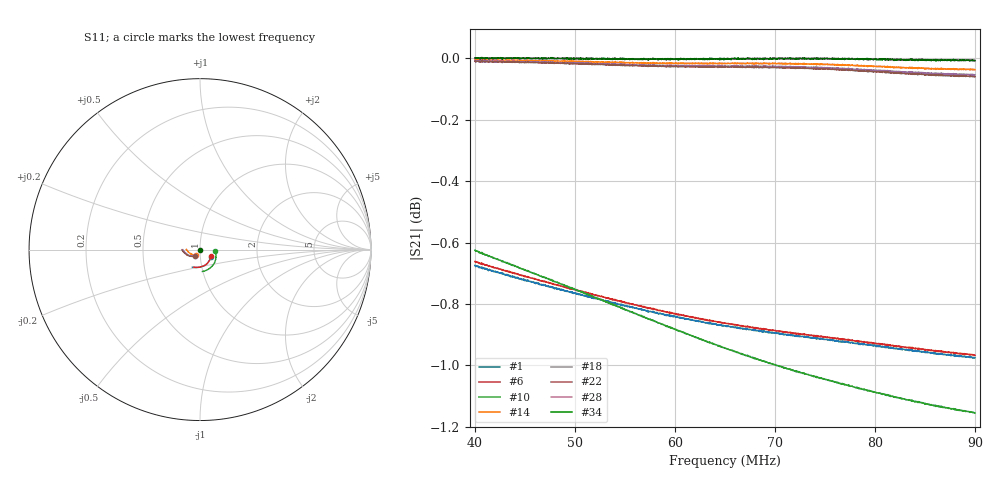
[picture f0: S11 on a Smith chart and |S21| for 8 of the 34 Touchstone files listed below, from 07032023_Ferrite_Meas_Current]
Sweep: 40 MHz to 90 MHz
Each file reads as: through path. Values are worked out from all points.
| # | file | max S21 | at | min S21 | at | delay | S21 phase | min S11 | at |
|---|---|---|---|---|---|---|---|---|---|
| 1 | FERRITE_SAMPLE_0A.S2P | -0.67 dB | 40.03 MHz | -1.0 dB | 89.78 MHz | 2.86 ns | -70 deg at 65.02 MHz | -22.4 dB | 40 MHz |
| 2 | FERRITE_SAMPLE_0A_AVG.S2P | -0.65 dB | 40.03 MHz | -0.9 dB | 90 MHz | 2.86 ns | -70 deg at 65.02 MHz | -22.6 dB | 40 MHz |
| 3 | FERRITE_SAMPLE_0A_DEEMBED.s2p | -0.67 dB | 40 MHz | -1.0 dB | 89.84 MHz | 256 ps | -9 deg at 65.02 MHz | -22.4 dB | 40.03 MHz |
| 4 | FERRITE_SAMPLE_0A_MA.s2p | -0.67 dB | 40.03 MHz | -1.0 dB | 89.78 MHz | 2.86 ns | -70 deg at 65.02 MHz | -22.4 dB | 40 MHz |
| 5 | FERRITE_SAMPLE_2,5A.S2P | -0.66 dB | 40.03 MHz | -1.0 dB | 89.78 MHz | 2.87 ns | -70 deg at 65.02 MHz | -22.4 dB | 40 MHz |
| 6 | FERRITE_SAMPLE_2,5A_AVG.S2P | -0.66 dB | 40.03 MHz | -1.0 dB | 90 MHz | 2.87 ns | -71 deg at 65.02 MHz | -22.4 dB | 40 MHz |
| 7 | FERRITE_SAMPLE_5A.S2P | -0.72 dB | 40 MHz | -1.0 dB | 90 MHz | 2.87 ns | -71 deg at 65.02 MHz | -21.5 dB | 40.09 MHz |
| 8 | FERRITE_SAMPLE_5A_AVG.S2P | -0.77 dB | 40 MHz | -1.1 dB | 90 MHz | 2.87 ns | -72 deg at 65.02 MHz | -20.9 dB | 40 MHz |
| 9 | FERRITE_SAMPLE_7,5A.S2P | -0.63 dB | 40 MHz | -1.1 dB | 89.87 MHz | 2.92 ns | -74 deg at 65.02 MHz | -21.0 dB | 40 MHz |
| 10 | FERRITE_SAMPLE_7,5A_AVG.S2P | -0.62 dB | 40.03 MHz | -1.2 dB | 90 MHz | 2.93 ns | -74 deg at 65.02 MHz | -21.0 dB | 40 MHz |
| 11 | FERRITE_SAMPLE_10A.S2P | 0.00 dB | 40.69 MHz | 0.0 dB | 88.66 MHz | 2.98 ns | -70 deg at 65.02 MHz | -38.1 dB | 40 MHz |
| 12 | FERRITE_SAMPLE_10A_AVG.S2P | 0.00 dB | 40.69 MHz | 0.0 dB | 89.78 MHz | 2.99 ns | -70 deg at 65.02 MHz | -38.0 dB | 40 MHz |
| 13 | FERRITE_SAMPLE_12,5A.S2P | 0.00 dB | 40.69 MHz | 0.0 dB | 89.91 MHz | 2.88 ns | -67 deg at 65.02 MHz | -28.6 dB | 40 MHz |
| 14 | FERRITE_SAMPLE_12,5A_AVG.S2P | 0.00 dB | 40.69 MHz | 0.0 dB | 89.5 MHz | 2.88 ns | -67 deg at 65.02 MHz | -28.5 dB | 40 MHz |
| 15 | FERRITE_SAMPLE_15A.S2P | -0.01 dB | 40.69 MHz | -0.1 dB | 89.78 MHz | 2.85 ns | -67 deg at 65.02 MHz | -27.2 dB | 40 MHz |
| 16 | FERRITE_SAMPLE_15A_AVG.S2P | -0.01 dB | 40.69 MHz | 0.0 dB | 89.78 MHz | 2.85 ns | -67 deg at 65.02 MHz | -27.1 dB | 40 MHz |
| 17 | FERRITE_SAMPLE_17,5A.S2P | -0.01 dB | 40.69 MHz | -0.1 dB | 89.44 MHz | 2.84 ns | -67 deg at 65.02 MHz | -26.6 dB | 40 MHz |
| 18 | FERRITE_SAMPLE_17,5A_AVG.S2P | -0.01 dB | 40.69 MHz | -0.1 dB | 89.78 MHz | 2.84 ns | -67 deg at 65.02 MHz | -26.6 dB | 40 MHz |
| 19 | FERRITE_SAMPLE_20A.S2P | -0.01 dB | 40.03 MHz | -0.1 dB | 90 MHz | 2.83 ns | -66 deg at 65.02 MHz | -26.3 dB | 40 MHz |
| 20 | FERRITE_SAMPLE_20A_AVG.S2P | -0.01 dB | 40.69 MHz | -0.1 dB | 89.5 MHz | 2.84 ns | -66 deg at 65.02 MHz | -26.3 dB | 40 MHz |
| 21 | FERRITE_SAMPLE_22,5A.S2P | -0.01 dB | 40.69 MHz | -0.1 dB | 89.91 MHz | 2.83 ns | -66 deg at 65.02 MHz | -26.1 dB | 40 MHz |
| 22 | FERRITE_SAMPLE_22,5A_AVG.S2P | -0.01 dB | 40.69 MHz | -0.1 dB | 89.78 MHz | 2.83 ns | -66 deg at 65.02 MHz | -26.1 dB | 40 MHz |
| 23 | FERRITE_SAMPLE_25A.S2P | -0.01 dB | 40.69 MHz | -0.1 dB | 89.78 MHz | 2.83 ns | -66 deg at 65.02 MHz | -26.0 dB | 40 MHz |
| 24 | FERRITE_SAMPLE_25A_AVG.S2P | -0.01 dB | 40.69 MHz | -0.1 dB | 89.78 MHz | 2.83 ns | -66 deg at 65.02 MHz | -26.0 dB | 40 MHz |
| 25 | FERRITE_SAMPLE_25A_AVG_MA.s2p | -0.01 dB | 40.69 MHz | -0.1 dB | 89.78 MHz | 2.83 ns | -66 deg at 65.02 MHz | -26.0 dB | 40 MHz |
| 26 | FERRITE_SAMPLE_25A_DEEMBED.s2p | -0.01 dB | 40.47 MHz | -0.1 dB | 89.78 MHz | 230 ps | -5 deg at 65.02 MHz | -26.3 dB | 40 MHz |
| 27 | NO_SAMPLE_0A.S2P | 0.00 dB | 40.22 MHz | 0.0 dB | 86.09 MHz | 2.6 ns | -61 deg at 65.02 MHz | -53.9 dB | 43.03 MHz |
| 28 | NO_SAMPLE_0A_AVG.S2P | 0.00 dB | 40.69 MHz | 0.0 dB | 86.09 MHz | 2.6 ns | -61 deg at 65.02 MHz | -53.8 dB | 43.03 MHz |
| 29 | NO_SAMPLE_0A_MA.s2p | 0.00 dB | 40.22 MHz | 0.0 dB | 86.09 MHz | 2.6 ns | -61 deg at 65.02 MHz | -53.9 dB | 43.03 MHz |
| 30 | NO_SAMPLE_5A.S2P | 0.00 dB | 40.69 MHz | 0.0 dB | 86.09 MHz | 2.6 ns | -61 deg at 65.02 MHz | -53.9 dB | 45.07 MHz |
| 31 | NO_SAMPLE_10A.S2P | 0.00 dB | 40.69 MHz | 0.0 dB | 89.5 MHz | 2.6 ns | -61 deg at 65.02 MHz | -54.1 dB | 43.13 MHz |
| 32 | NO_SAMPLE_15A.S2P | 0.00 dB | 40.69 MHz | 0.0 dB | 86.09 MHz | 2.6 ns | -61 deg at 65.02 MHz | -54.0 dB | 44.41 MHz |
| 33 | NO_SAMPLE_20A.S2P | 0.00 dB | 40.69 MHz | 0.0 dB | 87.56 MHz | 2.6 ns | -61 deg at 65.02 MHz | -53.9 dB | 43.22 MHz |
| 34 | NO_SAMPLE_25A.S2P | 0.00 dB | 40.69 MHz | 0.0 dB | 86.09 MHz | 2.6 ns | -61 deg at 65.02 MHz | -53.9 dB | 42.94 MHz |
